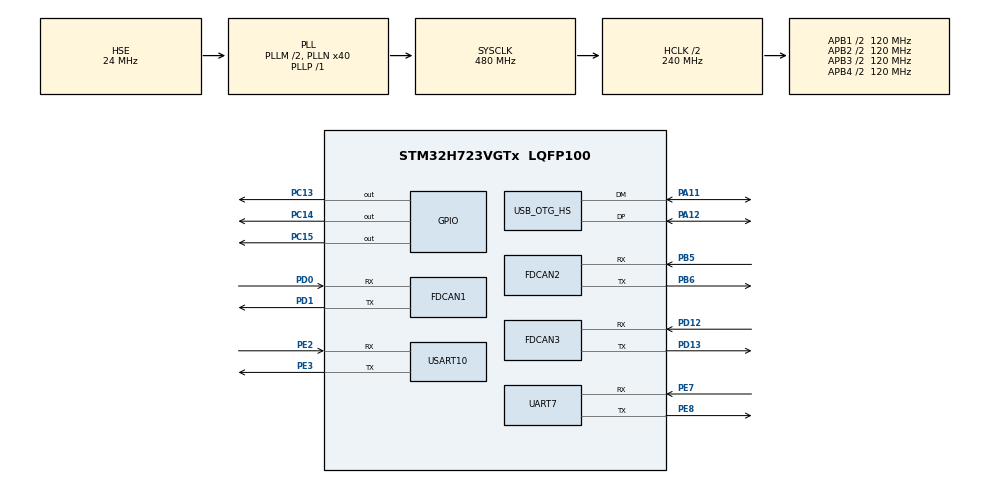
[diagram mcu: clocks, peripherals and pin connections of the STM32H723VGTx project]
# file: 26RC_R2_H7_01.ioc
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CORTEX_M7.default_mode_Activation=1
FDCAN1.AutoRetransmission=ENABLE
FDCAN1.CalculateBaudRateNominal=1000000
FDCAN1.CalculateTimeBitNominal=1000
FDCAN1.CalculateTimeQuantumNominal=12.5
FDCAN1.DataSyncJumpWidth=2
FDCAN1.DataTimeSeg1=13
FDCAN1.DataTimeSeg2=2
FDCAN1.ExtFiltersNbr=4
FDCAN1.FrameFormat=FDCAN_FRAME_FD_BRS
FDCAN1.NominalPrescaler=1
FDCAN1.NominalSyncJumpWidth=20
FDCAN1.NominalTimeSeg1=59
FDCAN1.NominalTimeSeg2=20
FDCAN1.ProtocolException=ENABLE
FDCAN1.RxBuffersNbr=2
FDCAN1.RxFifo0ElmtsNbr=10
FDCAN1.RxFifo1ElmtsNbr=10
FDCAN1.StdFiltersNbr=4
FDCAN1.TxBuffersNbr=10
FDCAN1.TxEventsNbr=10
FDCAN1.TxFifoQueueElmtsNbr=10
FDCAN2.CalculateBaudRateNominal=1000000
FDCAN2.CalculateTimeBitNominal=1000
FDCAN2.CalculateTimeQuantumNominal=12.5
FDCAN2.DataSyncJumpWidth=2
FDCAN2.DataTimeSeg1=13
FDCAN2.DataTimeSeg2=2
FDCAN2.ExtFiltersNbr=4
FDCAN2.MessageRAMOffset=1200
FDCAN2.NominalPrescaler=1
FDCAN2.NominalSyncJumpWidth=20
FDCAN2.NominalTimeSeg1=59
FDCAN2.NominalTimeSeg2=20
FDCAN2.RxBuffersNbr=2
FDCAN2.RxFifo0ElmtsNbr=10
FDCAN2.RxFifo1ElmtsNbr=10
FDCAN2.StdFiltersNbr=4
FDCAN2.TxBuffersNbr=10
FDCAN2.TxEventsNbr=10
FDCAN2.TxFifoQueueElmtsNbr=10
FDCAN3.CalculateBaudRateNominal=1000000
FDCAN3.CalculateTimeBitNominal=1000
FDCAN3.CalculateTimeQuantumNominal=12.5
FDCAN3.DataSyncJumpWidth=2
FDCAN3.DataTimeSeg1=13
FDCAN3.DataTimeSeg2=2
FDCAN3.ExtFiltersNbr=4
FDCAN3.MessageRAMOffset=1706
FDCAN3.NominalPrescaler=1
FDCAN3.NominalSyncJumpWidth=20
FDCAN3.NominalTimeSeg1=59
FDCAN3.NominalTimeSeg2=20
FDCAN3.RxBuffersNbr=2
FDCAN3.RxFifo0ElmtsNbr=10
FDCAN3.RxFifo1ElmtsNbr=10
FDCAN3.StdFiltersNbr=4
FDCAN3.TxBuffersNbr=10
FDCAN3.TxEventsNbr=10
FDCAN3.TxFifoQueueElmtsNbr=10
FREERTOS.Tasks01=Start_Control_T,1,2048,Control_Task,As weak,NULL,Static,Start_Control_TBuffer,Start_Control_TControlBlock;Start_CAN_Task,2,2048,CAN_Task,As weak,NULL,Static,Start_CAN_TaskBuffer,Start_CAN_TaskControlBlock;Start_INS_Task,2,2048,INS_Task,As weak,NULL,Static,Start_INS_TaskBuffer,Start_INS_TaskControlBlock
Mcu.Family=STM32H7
Mcu.Name=STM32H723VGTx
Mcu.Package=LQFP100
NVIC.FDCAN1_IT0_IRQn=true\:5\:0\:false\:false\:true\:true\:true\:true\:true
NVIC.FDCAN1_IT1_IRQn=true\:5\:0\:false\:false\:true\:true\:true\:true\:true
NVIC.FDCAN2_IT0_IRQn=true\:5\:0\:false\:false\:true\:true\:true\:true\:true
NVIC.FDCAN2_IT1_IRQn=true\:5\:0\:false\:false\:true\:true\:true\:true\:true
NVIC.FDCAN3_IT0_IRQn=true\:5\:0\:false\:false\:true\:true\:true\:true\:true
NVIC.FDCAN3_IT1_IRQn=true\:5\:0\:false\:false\:true\:true\:true\:true\:true
NVIC.OTG_HS_IRQn=true\:5\:0\:false\:false\:true\:true\:true\:true\:true
NVIC.PriorityGroup=NVIC_PRIORITYGROUP_4
NVIC.TIM2_IRQn=true\:15\:0\:false\:false\:true\:false\:false\:true\:true
NVIC.TIM3_IRQn=true\:5\:0\:false\:false\:true\:true\:true\:true\:true
NVIC.TIM4_IRQn=true\:5\:0\:false\:false\:true\:true\:true\:true\:true
NVIC.TimeBase=TIM2_IRQn
NVIC.TimeBaseIP=TIM2
NVIC.UART7_IRQn=true\:5\:0\:false\:false\:true\:true\:true\:true\:true
NVIC.USART10_IRQn=true\:5\:0\:false\:false\:true\:true\:true\:true\:true
PA11.Mode=Device_Only_FS
PA11.Signal=USB_OTG_HS_DM
PA12.Mode=Device_Only_FS
PA12.Signal=USB_OTG_HS_DP
PA13(JTMS/SWDIO).Mode=Serial_Wire
PA13(JTMS/SWDIO).Signal=DEBUG_JTMS-SWDIO
PA14(JTCK/SWCLK).Mode=Serial_Wire
PA14(JTCK/SWCLK).Signal=DEBUG_JTCK-SWCLK
PB5.Mode=FDCAN_Activate
PB5.Signal=FDCAN2_RX
PB6.Mode=FDCAN_Activate
PB6.Signal=FDCAN2_TX
PC13.Signal=GPIO_Output
PC14-OSC32_IN.Signal=GPIO_Output
PC15-OSC32_OUT.Signal=GPIO_Output
PD0.Mode=FDCAN_Activate
PD0.Signal=FDCAN1_RX
PD1.Mode=FDCAN_Activate
PD1.Signal=FDCAN1_TX
PD12.Mode=FDCAN_Activate
PD12.Signal=FDCAN3_RX
PD13.Mode=FDCAN_Activate
PD13.Signal=FDCAN3_TX
PE2.Mode=Asynchronous
PE2.Signal=USART10_RX
PE3.Mode=Asynchronous
PE3.Signal=USART10_TX
PE7.Mode=Asynchronous
PE7.Signal=UART7_RX
PE8.Mode=Asynchronous
PE8.Signal=UART7_TX
PH0-OSC_IN.Mode=HSE-External-Oscillator
PH0-OSC_IN.Signal=RCC_OSC_IN
PH1-OSC_OUT.Mode=HSE-External-Oscillator
PH1-OSC_OUT.Signal=RCC_OSC_OUT
ProjectManager.HeapSize=0x200
ProjectManager.StackSize=0x400
ProjectManager.TargetToolchain=MDK-ARM V5.32
RCC.ADCFreq_Value=48375000
RCC.APB1Freq_Value=120000000
RCC.APB2Freq_Value=120000000
RCC.APB3Freq_Value=120000000
RCC.APB4Freq_Value=120000000
RCC.CortexFreq_Value=480000000
RCC.D1PPRE=RCC_APB3_DIV2
RCC.D2PPRE1=RCC_APB1_DIV2
RCC.D2PPRE2=RCC_APB2_DIV2
RCC.D3PPRE=RCC_APB4_DIV2
RCC.DIVM1=2
RCC.DIVM3=16
RCC.DIVN1=40
RCC.DIVN3=256
RCC.DIVP1=1
RCC.DIVQ1=6
RCC.DIVQ3=8
RCC.HCLKFreq_Value=240000000
RCC.HPRE=RCC_HCLK_DIV2
RCC.HSE_VALUE=24000000
RCC.PLLFRACN=0
RCC.PLLSourceVirtual=RCC_PLLSOURCE_HSE
RCC.SYSCLKFreq_VALUE=480000000
RCC.SYSCLKSource=RCC_SYSCLKSOURCE_PLLCLK
RCC.USBCLockSelection=RCC_USBCLKSOURCE_PLL3
RCC.USBFreq_Value=48000000
STMicroelectronics.X-CUBE-ALGOBUILD.1.4.0.LibraryCcDSPOoLibraryJjDSPOoLibrary=true
TIM3.Period=1000-1
TIM3.Prescaler=240-1
TIM4.Period=10000-1
TIM4.Prescaler=2400-1
USART10.VirtualMode=VM_ASYNC
USB_DEVICE.CLASS_NAME_HS=CDC
USB_DEVICE.VirtualMode=Cdc
USB_DEVICE.VirtualModeHS=Cdc_HS
USB_OTG_HS.VirtualMode-Device_Only_FS=Device_Only_FS
VP_FREERTOS_VS_CMSIS_V1.Mode=CMSIS_V1
VP_MEMORYMAP_VS_MEMORYMAP.Mode=CurAppReg
VP_STMicroelectronics.X-CUBE-ALGOBUILD_VS_DSPOoLibraryJjLibrary_1.4.0_1.4.0.Mode=DSPOoLibraryJjLibrary
VP_SYS_VS_tim2.Mode=TIM2
VP_TIM3_VS_ClockSourceINT.Mode=Internal
VP_TIM4_VS_ClockSourceINT.Mode=Internal
VP_USB_DEVICE_VS_USB_DEVICE_CDC_HS.Mode=CDC_HS
board=custom

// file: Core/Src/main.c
/* USER CODE BEGIN Header */
/**
  ******************************************************************************
  * @file           : main.c
  * @brief          : Main program body
  ******************************************************************************
  * @attention
  *
  * Copyright (c) 2026 STMicroelectronics.
  * All rights reserved.
  *
  * This software is licensed under terms that can be found in the LICENSE file
  * in the root directory of this software component.
  * If no LICENSE file comes with this software, it is provided AS-IS.
  *
  ******************************************************************************
  */
/* USER CODE END Header */
#include "main.h"
#include "cmsis_os.h"
#include "fdcan.h"
#include "memorymap.h"
#include "tim.h"
#include "usart.h"
#include "usb_device.h"
#include "gpio.h"

/* USER CODE BEGIN Includes */
#include "include.h"
#include "dm_motor_ctrl.h"
#include "bsp_tick.h"

/* USER CODE END Includes */

void SystemClock_Config(void);
static void MPU_Config(void);
void MX_FREERTOS_Init(void);

int main(void)
{

  /* MPU Configuration--------------------------------------------------------*/
  MPU_Config();

  /* MCU Configuration--------------------------------------------------------*/

  /* Reset of all peripherals, Initializes the Flash interface and the Systick. */
  HAL_Init();

  /* Configure the system clock */
  SystemClock_Config();

  /* Initialize all configured peripherals */
  MX_GPIO_Init();
  MX_FDCAN1_Init();
  MX_FDCAN2_Init();
  MX_FDCAN3_Init();
  MX_TIM3_Init();
  MX_TIM4_Init();
  MX_UART7_Init();
  MX_USART10_UART_Init();

  /* Call init function for freertos objects (in cmsis_os2.c) */
  MX_FREERTOS_Init();

  /* Start scheduler */
  osKernelStart();

  /* We should never get here as control is now taken by the scheduler */

  /* Infinite loop */
  while (1)
  {

  }
}

void SystemClock_Config(void)
{
  RCC_OscInitTypeDef RCC_OscInitStruct = {0};
  RCC_ClkInitTypeDef RCC_ClkInitStruct = {0};

  /** Supply configuration update enable
  */
  HAL_PWREx_ConfigSupply(PWR_LDO_SUPPLY);

  /** Configure the main internal regulator output voltage
  */
  __HAL_PWR_VOLTAGESCALING_CONFIG(PWR_REGULATOR_VOLTAGE_SCALE0);

  while(!__HAL_PWR_GET_FLAG(PWR_FLAG_VOSRDY)) {}

  /** Initializes the RCC Oscillators according to the specified parameters
  * in the RCC_OscInitTypeDef structure.
  */
  RCC_OscInitStruct.OscillatorType = RCC_OSCILLATORTYPE_HSE;
  RCC_OscInitStruct.HSEState = RCC_HSE_ON;
  RCC_OscInitStruct.PLL.PLLState = RCC_PLL_ON;
  RCC_OscInitStruct.PLL.PLLSource = RCC_PLLSOURCE_HSE;
  RCC_OscInitStruct.PLL.PLLM = 2;
  RCC_OscInitStruct.PLL.PLLN = 40;
  RCC_OscInitStruct.PLL.PLLP = 1;
  RCC_OscInitStruct.PLL.PLLQ = 6;
  RCC_OscInitStruct.PLL.PLLR = 2;
  RCC_OscInitStruct.PLL.PLLRGE = RCC_PLL1VCIRANGE_3;
  RCC_OscInitStruct.PLL.PLLVCOSEL = RCC_PLL1VCOWIDE;
  RCC_OscInitStruct.PLL.PLLFRACN = 0;
  if (HAL_RCC_OscConfig(&RCC_OscInitStruct) != HAL_OK)
  {
    Error_Handler();
  }

  /** Initializes the CPU, AHB and APB buses clocks
  */
  RCC_ClkInitStruct.ClockType = RCC_CLOCKTYPE_HCLK|RCC_CLOCKTYPE_SYSCLK
                              |RCC_CLOCKTYPE_PCLK1|RCC_CLOCKTYPE_PCLK2
                              |RCC_CLOCKTYPE_D3PCLK1|RCC_CLOCKTYPE_D1PCLK1;
  RCC_ClkInitStruct.SYSCLKSource = RCC_SYSCLKSOURCE_PLLCLK;
  RCC_ClkInitStruct.SYSCLKDivider = RCC_SYSCLK_DIV1;
  RCC_ClkInitStruct.AHBCLKDivider = RCC_HCLK_DIV2;
  RCC_ClkInitStruct.APB3CLKDivider = RCC_APB3_DIV2;
  RCC_ClkInitStruct.APB1CLKDivider = RCC_APB1_DIV2;
  RCC_ClkInitStruct.APB2CLKDivider = RCC_APB2_DIV2;
  RCC_ClkInitStruct.APB4CLKDivider = RCC_APB4_DIV2;

  if (HAL_RCC_ClockConfig(&RCC_ClkInitStruct, FLASH_LATENCY_3) != HAL_OK)
  {
    Error_Handler();
  }
}

 /* MPU Configuration */

void MPU_Config(void)
{
  MPU_Region_InitTypeDef MPU_InitStruct = {0};

  /* Disables the MPU */
  HAL_MPU_Disable();

  /** Initializes and configures the Region and the memory to be protected
  */
  MPU_InitStruct.Enable = MPU_REGION_ENABLE;
  MPU_InitStruct.Number = MPU_REGION_NUMBER0;
  MPU_InitStruct.BaseAddress = 0x0;
  MPU_InitStruct.Size = MPU_REGION_SIZE_4GB;
  MPU_InitStruct.SubRegionDisable = 0x87;
  MPU_InitStruct.TypeExtField = MPU_TEX_LEVEL0;
  MPU_InitStruct.AccessPermission = MPU_REGION_NO_ACCESS;
  MPU_InitStruct.DisableExec = MPU_INSTRUCTION_ACCESS_DISABLE;
  MPU_InitStruct.IsShareable = MPU_ACCESS_SHAREABLE;
  MPU_InitStruct.IsCacheable = MPU_ACCESS_NOT_CACHEABLE;
  MPU_InitStruct.IsBufferable = MPU_ACCESS_NOT_BUFFERABLE;

  HAL_MPU_ConfigRegion(&MPU_InitStruct);
  /* Enables the MPU */
  HAL_MPU_Enable(MPU_PRIVILEGED_DEFAULT);

}

void HAL_TIM_PeriodElapsedCallback(TIM_HandleTypeDef *htim)
{
  if (htim->Instance == TIM2)
  {
    HAL_IncTick();
  }
  /* USER CODE BEGIN Callback 1 */
	if (htim->Instance == TIM3) {

//		read_all_motor_data(&motor[Motor1]);
//		read_all_motor_data(&motor[Motor2]);
//		read_all_motor_data(&motor[Motor3]);
//		read_all_motor_data(&motor[Motor4]);
//		read_all_motor_data(&motor[Motor5]);
//		read_all_motor_data(&motor[Motor6]);
    motor[Motor1].tmp.read_flag = 0;
    motor[Motor2].tmp.read_flag = 0;
    motor[Motor3].tmp.read_flag = 0;
    motor[Motor4].tmp.read_flag = 0;
    motor[Motor5].tmp.read_flag = 0;
    motor[Motor6].tmp.read_flag = 0;

		if(motor[Motor1].tmp.read_flag == 0 )
			dm_motor_ctrl_send(&hfdcan1, &motor[Motor1]);

		if(motor[Motor2].tmp.read_flag == 0 )
			dm_motor_ctrl_send(&hfdcan1, &motor[Motor2]);

		if(motor[Motor3].tmp.read_flag == 0 )
			dm_motor_ctrl_send(&hfdcan1, &motor[Motor3]);

		if(motor[Motor4].tmp.read_flag == 0 )
			dm_motor_ctrl_send(&hfdcan1, &motor[Motor4]);

		if(motor[Motor5].tmp.read_flag == 0 )
			dm_motor_ctrl_send(&hfdcan1, &motor[Motor5]);

		if(motor[Motor6].tmp.read_flag == 0 )
			dm_motor_ctrl_send(&hfdcan1, &motor[Motor6]);
	}
  if (htim->Instance == TIM4)
  {

  }
  /* USER CODE END Callback 1 */
}

void Error_Handler(void)
{
  __disable_irq();
  while (1)
  {
  }
}

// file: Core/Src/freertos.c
/* USER CODE BEGIN Header */
/**
  ******************************************************************************
  * File Name          : freertos.c
  * Description        : Code for freertos applications
  ******************************************************************************
  * @attention
  *
  * Copyright (c) 2026 STMicroelectronics.
  * All rights reserved.
  *
  * This software is licensed under terms that can be found in the LICENSE file
  * in the root directory of this software component.
  * If no LICENSE file comes with this software, it is provided AS-IS.
  *
  ******************************************************************************
  */
/* USER CODE END Header */

#include "FreeRTOS.h"
#include "task.h"
#include "main.h"
#include "cmsis_os.h"

osThreadId Start_Control_THandle;
uint32_t Start_Control_TBuffer[ 2048 ];
osStaticThreadDef_t Start_Control_TControlBlock;
osThreadId Start_CAN_TaskHandle;
uint32_t Start_CAN_TaskBuffer[ 2048 ];
osStaticThreadDef_t Start_CAN_TaskControlBlock;
osThreadId Start_INS_TaskHandle;
uint32_t Start_INS_TaskBuffer[ 2048 ];
osStaticThreadDef_t Start_INS_TaskControlBlock;

void Control_Task(void const * argument);
void CAN_Task(void const * argument);
void INS_Task(void const * argument);

extern void MX_USB_DEVICE_Init(void);
void MX_FREERTOS_Init(void); /* (MISRA C 2004 rule 8.1) */

/* GetIdleTaskMemory prototype (linked to static allocation support) */
void vApplicationGetIdleTaskMemory( StaticTask_t **ppxIdleTaskTCBBuffer, StackType_t **ppxIdleTaskStackBuffer, uint32_t *pulIdleTaskStackSize );

/* USER CODE BEGIN GET_IDLE_TASK_MEMORY */
static StaticTask_t xIdleTaskTCBBuffer;
static StackType_t xIdleStack[configMINIMAL_STACK_SIZE];

void vApplicationGetIdleTaskMemory( StaticTask_t **ppxIdleTaskTCBBuffer, StackType_t **ppxIdleTaskStackBuffer, uint32_t *pulIdleTaskStackSize )
{
  *ppxIdleTaskTCBBuffer = &xIdleTaskTCBBuffer;
  *ppxIdleTaskStackBuffer = &xIdleStack[0];
  *pulIdleTaskStackSize = configMINIMAL_STACK_SIZE;
  /* place for user code */
}
/* USER CODE END GET_IDLE_TASK_MEMORY */

void MX_FREERTOS_Init(void) {

  /* Create the thread(s) */
  /* definition and creation of Start_Control_T */
  osThreadStaticDef(Start_Control_T, Control_Task, osPriorityAboveNormal, 0, 2048, Start_Control_TBuffer, &Start_Control_TControlBlock);
  Start_Control_THandle = osThreadCreate(osThread(Start_Control_T), NULL);

  /* definition and creation of Start_CAN_Task */
  osThreadStaticDef(Start_CAN_Task, CAN_Task, osPriorityHigh, 0, 2048, Start_CAN_TaskBuffer, &Start_CAN_TaskControlBlock);
  Start_CAN_TaskHandle = osThreadCreate(osThread(Start_CAN_Task), NULL);

  /* definition and creation of Start_INS_Task */
  osThreadStaticDef(Start_INS_Task, INS_Task, osPriorityHigh, 0, 2048, Start_INS_TaskBuffer, &Start_INS_TaskControlBlock);
  Start_INS_TaskHandle = osThreadCreate(osThread(Start_INS_Task), NULL);

}

__weak void Control_Task(void const * argument)
{
  /* init code for USB_DEVICE */
  MX_USB_DEVICE_Init();
  for(;;)
  {
    osDelay(1);
  }
}

__weak void CAN_Task(void const * argument)
{
  for(;;)
  {
    osDelay(1);
  }
}

__weak void INS_Task(void const * argument)
{
  for(;;)
  {
    osDelay(1);
  }
}
